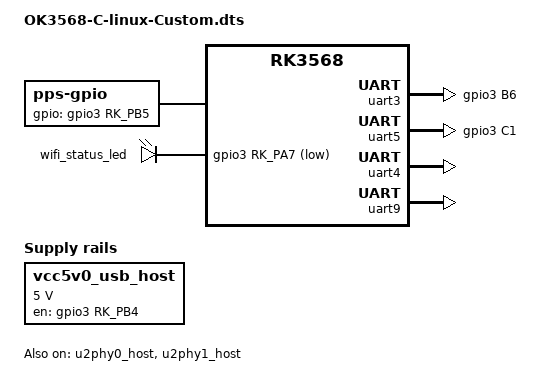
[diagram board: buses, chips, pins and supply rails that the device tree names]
// SPDX-License-Identifier: (GPL-2.0+ OR MIT)
/*
 * Copyright (c) 2020 Rockchip Electronics Co., Ltd.
 *
 */

#include "OK3568-C-common.dtsi"
#include "rk3568-linux.dtsi"
#include <dt-bindings/display/rockchip_vop.h>

&vp0 {
	cursor-win-id = <ROCKCHIP_VOP2_CLUSTER0>;
};

&vp1 {
	cursor-win-id = <ROCKCHIP_VOP2_CLUSTER1>;
};

/ {
        vcc5v0_usb_host:vcc5v0-usb-host {
                compatible = "regulator-fixed";
                regulator-name = "vcc5v0-usb-host";
                regulator-min-microvolt = <5000000>;
                regulator-max-microvolt = <5000000>;
                gpio = <&gpio3 RK_PB4 GPIO_ACTIVE_HIGH>;
                enable-active-high;
                pinctrl-names = "default";
                pinctrl-0 = <&usb_host_vbus>;
        };

        pps {
                status = "okay";
                compatible = "pps-gpio";
                pinctrl-names = "default";
                pinctrl-0 = <&pps_gpio_pins>;
                gpios = <&gpio3 RK_PB5 GPIO_ACTIVE_HIGH>;
        };

        5g-pwr {
                status = "disabled";
        };
        5g-rst {
		status = "disabled";
	};
};

&leds {
        wifi_status_led:wifi-status-led {
                gpios = <&gpio3 RK_PA7 GPIO_ACTIVE_LOW>;
        };
};

&uart3 {
        status = "okay";
        pinctrl-names = "default";
        pinctrl-0 = <&uart3m1_xfer &rs485_rts1>;
        rs485-de-gpios = <&gpio3 RK_PB6 GPIO_ACTIVE_HIGH>;
        rs485-rts-delay = <0 0>;
        linux,rs485-enabled-at-boot-time;
};

&uart5 {
        status = "okay";
        pinctrl-names = "default";
        pinctrl-0 = <&uart5m1_xfer &rs485_rts2>;
        rs485-de-gpios = <&gpio3 RK_PC1 GPIO_ACTIVE_HIGH>;
        rs485-rts-delay = <0 0>;
        linux,rs485-enabled-at-boot-time;
};

&uart4 {
        status = "okay";
        pinctrl-names = "default";
        pinctrl-0 = <&uart4m1_xfer>;

};

&uart9 {
        status = "okay";
        pinctrl-names = "default";
        pinctrl-0 = <&uart9m1_xfer>;
};

&u2phy0_host {
        phy-supply = <&vcc5v0_usb_host>;
        status = "okay";
};
&u2phy1_host {
        phy-supply = <&vcc5v0_usb_host>;
        status = "okay";
};


&pinctrl {
        usb-vbus {
                usb_host_vbus:usb-host-vbus{
                        rockchip,pins = <3 RK_PB4 RK_FUNC_GPIO &pcfg_pull_none>;
                };
        };
        rs485_rts {
                rs485_rts1: rs485-rts1 {
                        rockchip,pins = <3 RK_PB6 RK_FUNC_GPIO &pcfg_pull_none>;
                };
                rs485_rts2: rs485-rts2 {
                        rockchip,pins = <3 RK_PC1 RK_FUNC_GPIO &pcfg_pull_none>;
                };
        };
        pps_pins {
                pps_gpio_pins: pps-gpio-pins {
                rockchip,pins = <3 RK_PB5 RK_FUNC_GPIO &pcfg_pull_none>;
                };
        };

};
